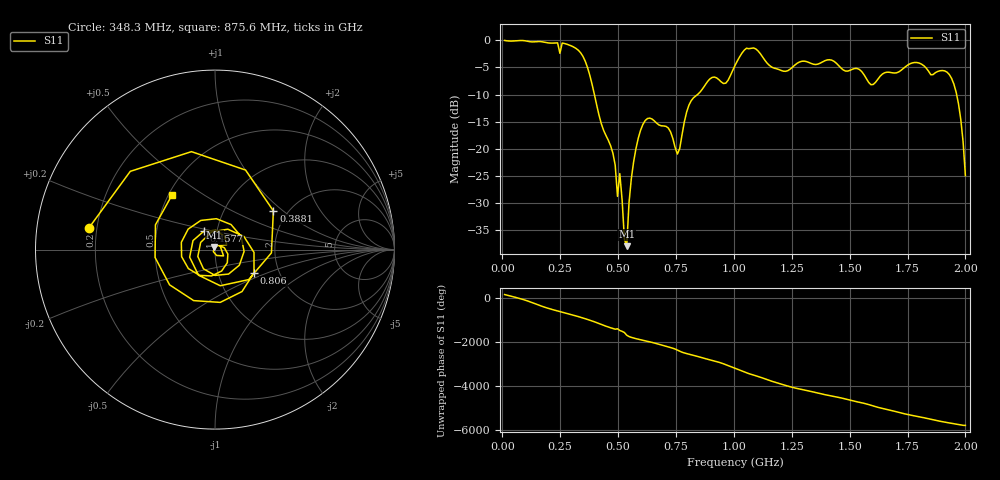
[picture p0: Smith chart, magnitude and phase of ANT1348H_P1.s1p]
!Created with skrf (http://scikit-rf.org).
# Hz S RI R 50.0
!freq ReS11 ImS11
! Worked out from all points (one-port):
!   201 points, 10 MHz to 2 GHz, reference 50 ohm
!   lowest |S11| = -38.0 dB at 537.4 MHz (marker M1), VSWR 1.03, Z = 49.6 + j1.18 ohm
!   |S11| at or under -10 dB: 397.9 MHz to 842.6 MHz (444.7 MHz wide, 71.7 % of centre); 1.962 GHz to end of sweep
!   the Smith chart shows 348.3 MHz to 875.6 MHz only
!   S11 on the Smith chart (normalised r, x): 348.3 MHz: 0.17, +0.08; 388.1 MHz: 1.69, +0.86; 457.8 MHz: 0.87, +0.18; 806 MHz: 1.49, -0.41; 875.6 MHz: 0.52, +0.37
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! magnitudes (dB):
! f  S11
! 10 MHz  0.0
! 248.8 MHz  -2.4
! 258.8 MHz  -0.5
! 348.3 MHz  -2.9
! 388.1 MHz  -8.2
! 457.8 MHz  -18.4
! 487.6 MHz  -23.0
! 497.6 MHz  -28.8
! 507.5 MHz  -24.6
! 527.4 MHz  -36.7
! 537.4 MHz  -38.0
! 557.2 MHz  -25.5
! 607 MHz  -15.5
! 716.5 MHz  -16.1
! 756.2 MHz  -21.0
! 806 MHz  -11.9
! 875.6 MHz  -8.2
! 965.2 MHz  -7.9
! 1.005 GHz  -4.6
! 1.085 GHz  -1.4
! 1.164 GHz  -4.9
! 1.254 GHz  -4.9
! 1.502 GHz  -5.5
! 1.592 GHz  -8.2
! 1.751 GHz  -4.5
! 1.94 GHz  -7.0
! 1.98 GHz  -14.6
! 2 GHz  -25.0
